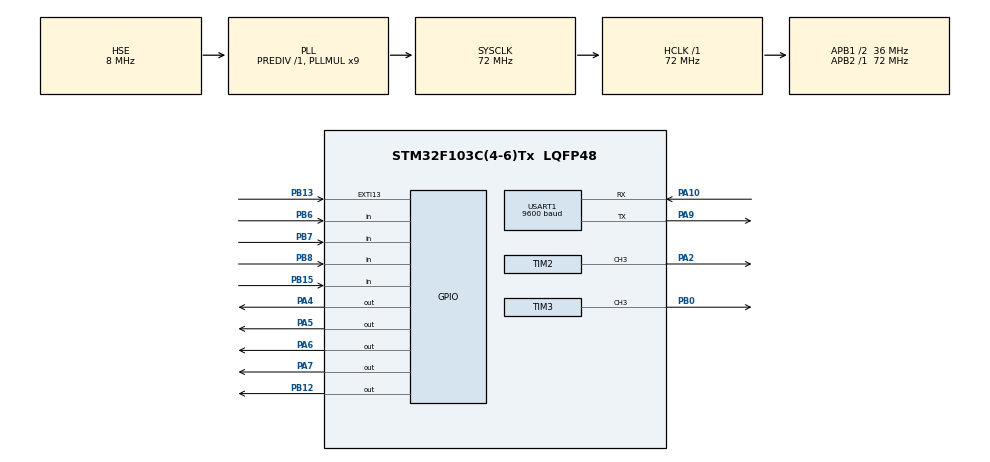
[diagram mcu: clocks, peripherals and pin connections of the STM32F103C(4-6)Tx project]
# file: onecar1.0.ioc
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Mcu.Family=STM32F1
Mcu.Name=STM32F103C(4-6)Tx
Mcu.Package=LQFP48
NVIC.EXTI15_10_IRQn=true\:0\:0\:false\:false\:true\:true\:true\:true
NVIC.PriorityGroup=NVIC_PRIORITYGROUP_4
NVIC.TIM3_IRQn=true\:0\:0\:false\:false\:true\:true\:true\:true
NVIC.USART1_IRQn=true\:0\:0\:false\:false\:true\:true\:true\:true
PA10.Mode=Asynchronous
PA10.Signal=USART1_RX
PA13.Mode=Serial_Wire
PA13.Signal=SYS_JTMS-SWDIO
PA14.Mode=Serial_Wire
PA14.Signal=SYS_JTCK-SWCLK
PA2.GPIO_ModeDefaultPP=GPIO_MODE_AF_PP
PA2.GPIO_Speed=GPIO_SPEED_FREQ_HIGH
PA2.Signal=S_TIM2_CH3
PA4.GPIO_PuPd=GPIO_PULLUP
PA4.GPIO_Speed=GPIO_SPEED_FREQ_MEDIUM
PA4.PinState=GPIO_PIN_RESET
PA4.Signal=GPIO_Output
PA5.GPIO_PuPd=GPIO_PULLUP
PA5.GPIO_Speed=GPIO_SPEED_FREQ_MEDIUM
PA5.Signal=GPIO_Output
PA6.GPIO_PuPd=GPIO_PULLUP
PA6.GPIO_Speed=GPIO_SPEED_FREQ_MEDIUM
PA6.Signal=GPIO_Output
PA7.GPIO_PuPd=GPIO_PULLUP
PA7.GPIO_Speed=GPIO_SPEED_FREQ_MEDIUM
PA7.Signal=GPIO_Output
PA9.Mode=Asynchronous
PA9.Signal=USART1_TX
PB0.Signal=S_TIM3_CH3
PB12.GPIO_PuPd=GPIO_NOPULL
PB12.GPIO_Speed=GPIO_SPEED_FREQ_HIGH
PB12.PinState=GPIO_PIN_RESET
PB12.Signal=GPIO_Output
PB13.GPIO_ModeDefaultEXTI=GPIO_MODE_IT_RISING_FALLING
PB13.Signal=GPXTI13
PB15.Signal=GPIO_Input
PB6.Signal=GPIO_Input
PB7.Signal=GPIO_Input
PB8.Signal=GPIO_Input
PC14-OSC32_IN.Mode=LSE-External-Oscillator
PC14-OSC32_IN.Signal=RCC_OSC32_IN
PC15-OSC32_OUT.Mode=LSE-External-Oscillator
PC15-OSC32_OUT.Signal=RCC_OSC32_OUT
PD0-OSC_IN.Mode=HSE-External-Oscillator
PD0-OSC_IN.Signal=RCC_OSC_IN
PD1-OSC_OUT.Mode=HSE-External-Oscillator
PD1-OSC_OUT.Signal=RCC_OSC_OUT
ProjectManager.HeapSize=0x200
ProjectManager.StackSize=0x400
ProjectManager.TargetToolchain=MDK-ARM V5.32
RCC.AHBFreq_Value=72000000
RCC.APB1CLKDivider=RCC_HCLK_DIV2
RCC.APB1Freq_Value=36000000
RCC.APB1TimFreq_Value=72000000
RCC.APB2Freq_Value=72000000
RCC.APB2TimFreq_Value=72000000
RCC.HCLKFreq_Value=72000000
RCC.PLLMUL=RCC_PLL_MUL9
RCC.PLLSourceVirtual=RCC_PLLSOURCE_HSE
RCC.SYSCLKFreq_VALUE=72000000
RCC.SYSCLKSource=RCC_SYSCLKSOURCE_PLLCLK
RCC.USBFreq_Value=72000000
SH.S_TIM2_CH3.0=TIM2_CH3,PWM Generation3 CH3
SH.S_TIM3_CH3.0=TIM3_CH3,PWM Generation3 CH3
TIM1.Period=59999
TIM1.Prescaler=71
TIM2.Channel-PWM\ Generation3\ CH3=TIM_CHANNEL_3
TIM2.ClockDivision=TIM_CLOCKDIVISION_DIV1
TIM2.Period=99
TIM2.Prescaler=35
TIM3.Channel-PWM\ Generation3\ CH3=TIM_CHANNEL_3
TIM3.Period=19999
TIM3.Prescaler=71
USART1.BaudRate=9600
USART1.VirtualMode=VM_ASYNC
VP_TIM1_VS_ClockSourceINT.Mode=Internal
board=custom

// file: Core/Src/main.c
/* USER CODE BEGIN Header */
/**
  ******************************************************************************
  * @file           : main.c
  * @brief          : Main program body
  ******************************************************************************
  * @attention
  *
  * Copyright (c) 2024 STMicroelectronics.
  * All rights reserved.
  *
  * This software is licensed under terms that can be found in the LICENSE file
  * in the root directory of this software component.
  * If no LICENSE file comes with this software, it is provided AS-IS.
  *
  ******************************************************************************
  */
/* USER CODE END Header */
#include "main.h"
#include "tim.h"
#include "usart.h"
#include "gpio.h"

/* USER CODE BEGIN Includes */
#include "user_car.h"
#include "user_motor.h"
#include "user_serial.h"
#include "user_servo.h"
#include "sr04.h"
#include "user_autogo.h"
/* USER CODE END Includes */

/* USER CODE BEGIN PV */

extern uint8_t rx_buf[2];
extern float distance;

/* USER CODE END PV */

void SystemClock_Config(void);

int main(void)
{

  /* MCU Configuration--------------------------------------------------------*/

  /* Reset of all peripherals, Initializes the Flash interface and the Systick. */
  HAL_Init();

  /* Configure the system clock */
  SystemClock_Config();

  /* Initialize all configured peripherals */
  MX_GPIO_Init();
  MX_TIM2_Init();
  MX_USART1_UART_Init();
  MX_TIM3_Init();
  MX_TIM1_Init();
  /* USER CODE BEGIN 2 */

  HAL_TIM_PWM_Start(&htim2,TIM_CHANNEL_3);
    //如果不调用这个函数就不会产生PWM
  HAL_TIM_PWM_Start(&htim3,TIM_CHANNEL_3);

  /*
  默认情况下的话我们在stm32f1xx_it.c中中断函数中写的程序是不会执行在
  串口1的中断里面的，所以要在主函数里面打开它的接收中断，然后只要我�?????
  的串口接收到数据就进到这个中断里面，后面才能进行下一步的操作�?????
  */
  HAL_UART_Receive_IT(&huart1,rx_buf,1);
  /*
  同时这个函数的作用是打开我们蓝牙串口1的接收中断，然后我们接收到了数据�?????
  我们把数据存在RX_BUF数据里面，最后这个数字表示我们每接收到一个数据我
  们就进一次中断，然后这个中断时�?�数据就保存在我们这个数组里�?????
  */

  /* USER CODE END 2 */

  /* Infinite loop */
  while (1)
  {

    /* USER CODE BEGIN 3 */

    auto_go();

    if(
      HAL_GPIO_ReadPin(GPIOB,GPIO_PIN_8)==0 &&
      HAL_GPIO_ReadPin(GPIOB,GPIO_PIN_8)==0 &&
      HAL_GPIO_ReadPin(GPIOB,GPIO_PIN_8)==0 &&
      HAL_GPIO_ReadPin(GPIOB,GPIO_PIN_8)==0
    ){auto_go();}
    else if (
      HAL_GPIO_ReadPin(GPIOB,GPIO_PIN_8)==1 &&
      HAL_GPIO_ReadPin(GPIOB,GPIO_PIN_8)==1 &&
      HAL_GPIO_ReadPin(GPIOB,GPIO_PIN_8)==1 &&
      HAL_GPIO_ReadPin(GPIOB,GPIO_PIN_8)==1
    ){auto_go();}//这里应该是没有黑色路径了直接停止但我们让小车进行行动
    else if (
      HAL_GPIO_ReadPin(GPIOB,GPIO_PIN_8)==0 &&
      HAL_GPIO_ReadPin(GPIOB,GPIO_PIN_8)==0 &&
      HAL_GPIO_ReadPin(GPIOB,GPIO_PIN_8)==1 &&
      HAL_GPIO_ReadPin(GPIOB,GPIO_PIN_8)==1
    ){self_right();}
    else if (
      HAL_GPIO_ReadPin(GPIOB,GPIO_PIN_8)==0 &&
      HAL_GPIO_ReadPin(GPIOB,GPIO_PIN_8)==0 &&
      HAL_GPIO_ReadPin(GPIOB,GPIO_PIN_8)==1 &&
      HAL_GPIO_ReadPin(GPIOB,GPIO_PIN_8)==0
    ){car_goright();}
    else if (
      HAL_GPIO_ReadPin(GPIOB,GPIO_PIN_8)==0 &&
      HAL_GPIO_ReadPin(GPIOB,GPIO_PIN_8)==0 &&
      HAL_GPIO_ReadPin(GPIOB,GPIO_PIN_8)==0 &&
      HAL_GPIO_ReadPin(GPIOB,GPIO_PIN_8)==1
    ){car_goright();}
    else if (
      HAL_GPIO_ReadPin(GPIOB,GPIO_PIN_8)==0 &&
      HAL_GPIO_ReadPin(GPIOB,GPIO_PIN_8)==1 &&
      HAL_GPIO_ReadPin(GPIOB,GPIO_PIN_8)==0 &&
      HAL_GPIO_ReadPin(GPIOB,GPIO_PIN_8)==0
    ){car_goleft();}
    else if (
      HAL_GPIO_ReadPin(GPIOB,GPIO_PIN_8)==1 &&
      HAL_GPIO_ReadPin(GPIOB,GPIO_PIN_8)==1 &&
      HAL_GPIO_ReadPin(GPIOB,GPIO_PIN_8)==0 &&
      HAL_GPIO_ReadPin(GPIOB,GPIO_PIN_8)==0
    ){self_left();}
    else if (
      HAL_GPIO_ReadPin(GPIOB,GPIO_PIN_8)==1 &&
      HAL_GPIO_ReadPin(GPIOB,GPIO_PIN_8)==0 &&
      HAL_GPIO_ReadPin(GPIOB,GPIO_PIN_8)==0 &&
      HAL_GPIO_ReadPin(GPIOB,GPIO_PIN_8)==0
    ){car_goleft();}
  }

  /* USER CODE END 3 */
}

void SystemClock_Config(void)
{
  RCC_OscInitTypeDef RCC_OscInitStruct = {0};
  RCC_ClkInitTypeDef RCC_ClkInitStruct = {0};

  /** Initializes the RCC Oscillators according to the specified parameters
  * in the RCC_OscInitTypeDef structure.
  */
  RCC_OscInitStruct.OscillatorType = RCC_OSCILLATORTYPE_HSE;
  RCC_OscInitStruct.HSEState = RCC_HSE_ON;
  RCC_OscInitStruct.HSEPredivValue = RCC_HSE_PREDIV_DIV1;
  RCC_OscInitStruct.HSIState = RCC_HSI_ON;
  RCC_OscInitStruct.PLL.PLLState = RCC_PLL_ON;
  RCC_OscInitStruct.PLL.PLLSource = RCC_PLLSOURCE_HSE;
  RCC_OscInitStruct.PLL.PLLMUL = RCC_PLL_MUL9;
  if (HAL_RCC_OscConfig(&RCC_OscInitStruct) != HAL_OK)
  {
    Error_Handler();
  }

  /** Initializes the CPU, AHB and APB buses clocks
  */
  RCC_ClkInitStruct.ClockType = RCC_CLOCKTYPE_HCLK|RCC_CLOCKTYPE_SYSCLK
                              |RCC_CLOCKTYPE_PCLK1|RCC_CLOCKTYPE_PCLK2;
  RCC_ClkInitStruct.SYSCLKSource = RCC_SYSCLKSOURCE_PLLCLK;
  RCC_ClkInitStruct.AHBCLKDivider = RCC_SYSCLK_DIV1;
  RCC_ClkInitStruct.APB1CLKDivider = RCC_HCLK_DIV2;
  RCC_ClkInitStruct.APB2CLKDivider = RCC_HCLK_DIV1;

  if (HAL_RCC_ClockConfig(&RCC_ClkInitStruct, FLASH_LATENCY_2) != HAL_OK)
  {
    Error_Handler();
  }
}

void Error_Handler(void)
{
  __disable_irq();
  while (1)
  {
  }
}
